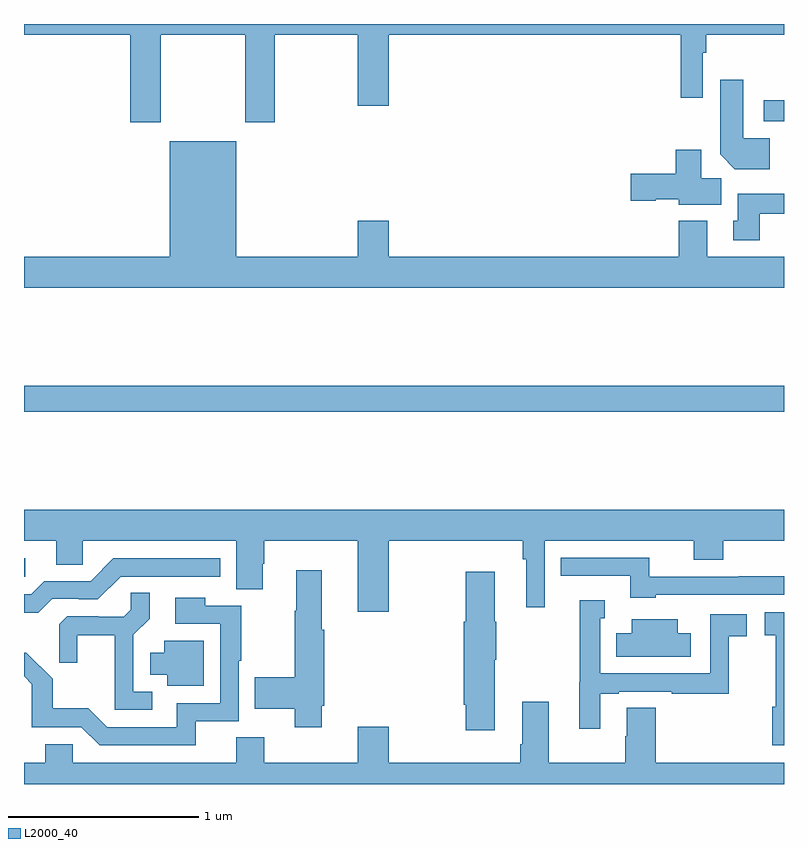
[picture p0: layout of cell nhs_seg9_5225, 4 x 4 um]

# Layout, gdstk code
import gdstk
lib = gdstk.Library(unit=1e-6, precision=1e-09)
def R(c, l, rs):  # rectangles x0, y0, x1, y1
    for r in rs: c.add(gdstk.rectangle(r[:2], r[2:], *l))
def P(c, l, *ps):  # polygons
    for p in ps: c.add(gdstk.Polygon(p, *l))
L2000_40 = (2000, 40)

nhs_seg9_5225 = lib.new_cell('nhs_seg9_5225')
R(nhs_seg9_5225, L2000_40, [(415,1169.592,415.006,1169.688), (415,1170.46,419,1170.596), (418.893,1171.989,419,1172.098)])
P(nhs_seg9_5225, L2000_40, [(415.719,1172.444),(416.164,1172.444),(416.164,1171.983),(416.319,1171.983),(416.319,1172.444),(416.756,1172.444),(416.756,1172.07),(416.92,1172.07),(416.92,1172.444),(418.456,1172.444),(418.456,1172.112),(418.572,1172.112),(418.572,1172.348),(418.592,1172.348),(418.592,1172.444),(419,1172.444),(419,1172.5),(415,1172.5),(415,1172.444),(415.559,1172.444),(415.559,1171.983),(415.719,1171.983)],
  [(418.925,1171.9),(418.786,1171.9),(418.786,1172.206),(418.664,1172.206),(418.664,1171.814),(418.742,1171.736),(418.925,1171.736)],
  [(419,1171.276),(418.597,1171.276),(418.597,1171.465),(418.445,1171.465),(418.445,1171.276),(416.92,1171.276),(416.92,1171.465),(416.756,1171.465),(416.756,1171.276),(416.116,1171.276),(416.116,1171.882),(415.766,1171.882),(415.766,1171.276),(415,1171.276),(415,1171.112),(419,1171.112)],
  [(418.669,1171.688),(418.564,1171.688),(418.564,1171.837),(418.43,1171.837),(418.43,1171.712),(418.194,1171.712),(418.194,1171.57),(418.326,1171.57),(418.326,1171.577),(418.446,1171.577),(418.446,1171.55),(418.669,1171.55)],
  [(418.873,1171.502),(419,1171.502),(419,1171.606),(418.757,1171.606),(418.757,1171.464),(418.733,1171.464),(418.733,1171.362),(418.873,1171.362)],
  [(416.92,1169.78),(417.625,1169.78),(417.625,1169.684),(417.644,1169.684),(417.644,1169.43),(417.741,1169.43),(417.741,1169.78),(418.526,1169.78),(418.526,1169.681),(418.679,1169.681),(418.679,1169.78),(419,1169.78),(419,1169.944),(415,1169.944),(415,1169.78),(415.169,1169.78),(415.169,1169.653),(415.308,1169.653),(415.308,1169.78),(416.117,1169.78),(416.117,1169.524),(416.257,1169.524),(416.257,1169.658),(416.265,1169.658),(416.265,1169.78),(416.756,1169.78),(416.756,1169.406),(416.92,1169.406)],
  [(418.326,1169.496),(419,1169.496),(419,1169.594),(418.762,1169.594),(418.762,1169.592),(418.29,1169.592),(418.29,1169.691),(417.826,1169.691),(417.826,1169.595),(418.19,1169.595),(418.19,1169.48),(418.326,1169.48)],
  [(415.149,1169.475),(415.288,1169.475),(415.288,1169.472),(415.389,1169.472),(415.509,1169.592),(416.032,1169.592),(416.032,1169.688),(415.47,1169.688),(415.35,1169.568),(415.107,1169.568),(415.038,1169.499),(415,1169.499),(415,1169.402),(415.076,1169.402)],
  [(416.566,1168.912),(416.579,1168.912),(416.579,1169.313),(416.566,1169.313),(416.566,1169.626),(416.432,1169.626),(416.432,1169.413),(416.425,1169.413),(416.425,1169.061),(416.215,1169.061),(416.215,1168.895),(416.425,1168.895),(416.425,1168.8),(416.566,1168.8)],
  [(417.478,1169.153),(417.486,1169.153),(417.486,1169.353),(417.478,1169.353),(417.478,1169.617),(417.325,1169.617),(417.325,1169.353),(417.314,1169.353),(417.314,1168.917),(417.325,1168.917),(417.325,1168.782),(417.478,1168.782)],
  [(415.675,1168.986),(415.575,1168.986),(415.575,1169.285),(415.661,1169.371),(415.661,1169.507),(415.563,1169.507),(415.563,1169.416),(415.526,1169.379),(415.392,1169.379),(415.392,1169.382),(415.227,1169.382),(415.186,1169.341),(415.186,1169.139),(415.28,1169.139),(415.28,1169.282),(415.478,1169.282),(415.478,1168.89),(415.675,1168.89)],
  [(415.904,1168.83),(416.13,1168.83),(416.13,1169.149),(416.143,1169.149),(416.143,1169.439),(415.953,1169.439),(415.953,1169.479),(415.797,1169.479),(415.797,1169.343),(416.034,1169.343),(416.034,1168.926),(415.805,1168.926),(415.805,1168.8),(415.437,1168.8),(415.339,1168.899),(415.15,1168.899),(415.15,1169.054),(415.012,1169.192),(415,1169.192),(415,1169.066),(415.041,1169.025),(415.041,1168.8),(415.302,1168.8),(415.398,1168.704),(415.904,1168.704)],
  [(418.033,1168.974),(418.129,1168.974),(418.129,1168.986),(418.408,1168.986),(418.408,1168.974),(418.71,1168.974),(418.71,1169.278),(418.804,1169.278),(418.804,1169.394),(418.611,1169.394),(418.611,1169.082),(418.032,1169.082),(418.032,1169.373),(418.057,1169.373),(418.057,1169.467),(417.924,1169.467),(417.924,1169.035),(417.923,1169.035),(417.923,1168.791),(418.033,1168.791)],
  [(419,1169.404),(418.899,1169.404),(418.899,1169.283),(418.957,1169.283),(418.957,1168.907),(418.939,1168.907),(418.939,1168.704),(419,1168.704)],
  [(418.51,1169.293),(418.441,1169.293),(418.441,1169.368),(418.199,1169.368),(418.199,1169.293),(418.117,1169.293),(418.117,1169.171),(418.51,1169.171)],
  [(415.945,1169.254),(415.739,1169.254),(415.739,1169.191),(415.664,1169.191),(415.664,1169.075),(415.754,1169.075),(415.754,1169.018),(415.945,1169.018)],
  [(419,1168.612),(418.325,1168.612),(418.325,1168.901),(418.172,1168.901),(418.172,1168.751),(418.165,1168.751),(418.165,1168.612),(417.763,1168.612),(417.763,1168.933),(417.623,1168.933),(417.623,1168.708),(417.611,1168.708),(417.611,1168.612),(416.92,1168.612),(416.92,1168.801),(416.756,1168.801),(416.756,1168.612),(416.265,1168.612),(416.265,1168.745),(416.117,1168.745),(416.117,1168.612),(415.257,1168.612),(415.257,1168.71),(415.111,1168.71),(415.111,1168.612),(415,1168.612),(415,1168.5),(419,1168.5)])

lib.write_gds('nhs_seg9_5225.gds')
